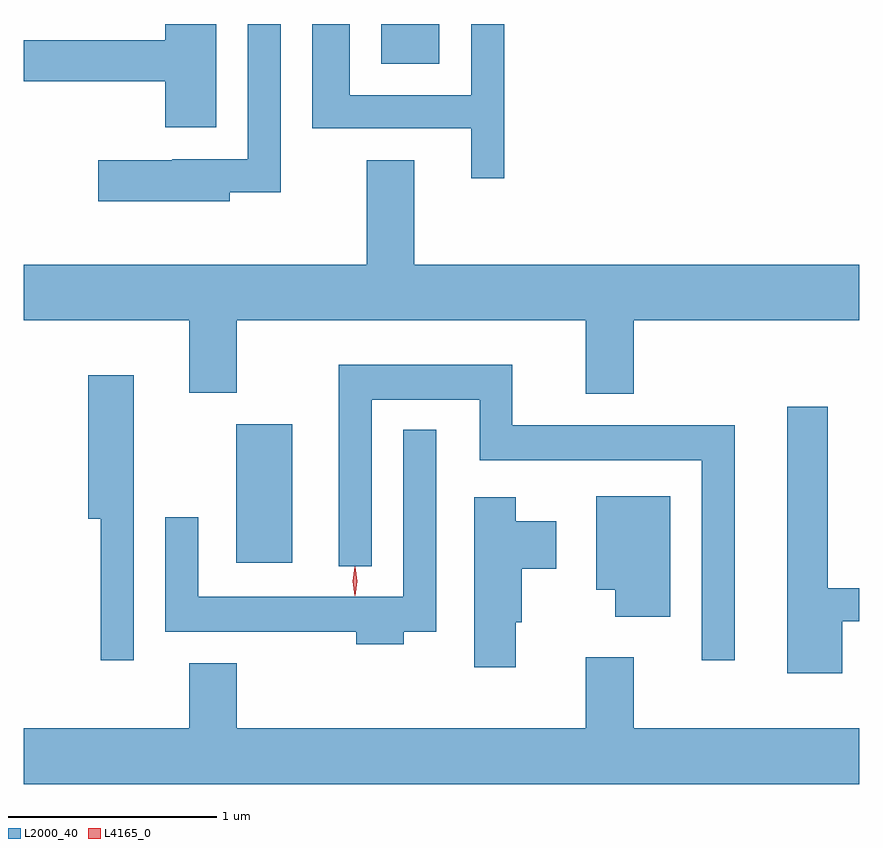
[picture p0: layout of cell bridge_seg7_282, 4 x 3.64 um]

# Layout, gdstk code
import gdstk
lib = gdstk.Library(unit=1e-6, precision=1e-09)
def R(c, l, rs):  # rectangles x0, y0, x1, y1
    for r in rs: c.add(gdstk.rectangle(r[:2], r[2:], *l))
def P(c, l, *ps):  # polygons
    for p in ps: c.add(gdstk.Polygon(p, *l))
L2000_40 = (2000, 40)
L4165_0 = (4165, 0)

bridge_seg7_282 = lib.new_cell('bridge_seg7_282')
R(bridge_seg7_282, L2000_40, [(1284.936,1801.956,1285.204,1802.619), (1285.631,1804.346,1285.909,1804.536)])
P(bridge_seg7_282, L2000_40, [(1284.904,1803.731),(1285.149,1803.731),(1285.149,1804.536),(1284.991,1804.536),(1284.991,1803.889),(1284.63,1803.889),(1284.63,1803.884),(1284.276,1803.884),(1284.276,1803.686),(1284.904,1803.686)],
  [(1284.839,1804.536),(1284.596,1804.536),(1284.596,1804.459),(1283.919,1804.459),(1283.919,1804.261),(1284.596,1804.261),(1284.596,1804.041),(1284.839,1804.041)],
  [(1286.219,1804.536),(1286.061,1804.536),(1286.061,1804.194),(1285.479,1804.194),(1285.479,1804.536),(1285.301,1804.536),(1285.301,1804.036),(1286.061,1804.036),(1286.061,1803.798),(1286.219,1803.798)],
  [(1286.839,1803.116),(1287.919,1803.116),(1287.919,1803.384),(1285.789,1803.384),(1285.789,1803.884),(1285.561,1803.884),(1285.561,1803.384),(1283.919,1803.384),(1283.919,1803.116),(1284.711,1803.116),(1284.711,1802.771),(1284.939,1802.771),(1284.939,1803.116),(1286.611,1803.116),(1286.611,1802.766),(1286.839,1802.766)],
  [(1287.324,1802.614),(1286.259,1802.614),(1286.259,1802.904),(1285.426,1802.904),(1285.426,1801.938),(1285.584,1801.938),(1285.584,1802.736),(1286.101,1802.736),(1286.101,1802.446),(1287.166,1802.446),(1287.166,1801.488),(1287.324,1801.488)],
  [(1284.444,1802.854),(1284.226,1802.854),(1284.226,1802.166),(1284.286,1802.166),(1284.286,1801.488),(1284.444,1801.488)],
  [(1287.839,1801.676),(1287.919,1801.676),(1287.919,1801.834),(1287.769,1801.834),(1287.769,1802.704),(1287.576,1802.704),(1287.576,1801.426),(1287.839,1801.426)],
  [(1285.739,1801.626),(1285.894,1801.626),(1285.894,1802.593),(1285.736,1802.593),(1285.736,1801.794),(1284.754,1801.794),(1284.754,1802.173),(1284.596,1802.173),(1284.596,1801.626),(1285.511,1801.626),(1285.511,1801.566),(1285.739,1801.566)],
  [(1287.014,1802.274),(1286.661,1802.274),(1286.661,1801.826),(1286.751,1801.826),(1286.751,1801.696),(1287.014,1801.696)],
  [(1286.274,1801.671),(1286.304,1801.671),(1286.304,1801.926),(1286.469,1801.926),(1286.469,1802.154),(1286.274,1802.154),(1286.274,1802.269),(1286.076,1802.269),(1286.076,1801.456),(1286.274,1801.456)],
  [(1287.919,1801.164),(1286.839,1801.164),(1286.839,1801.504),(1286.611,1801.504),(1286.611,1801.164),(1284.939,1801.164),(1284.939,1801.474),(1284.711,1801.474),(1284.711,1801.164),(1283.919,1801.164),(1283.919,1800.896),(1287.919,1800.896)])
P(bridge_seg7_282, L4165_0, [(1285.504,1801.797),(1285.495,1801.866),(1285.504,1801.936),(1285.505,1801.936),(1285.505,1801.936),(1285.515,1801.866),(1285.505,1801.797),(1285.505,1801.797)])

lib.write_gds('bridge_seg7_282.gds')
